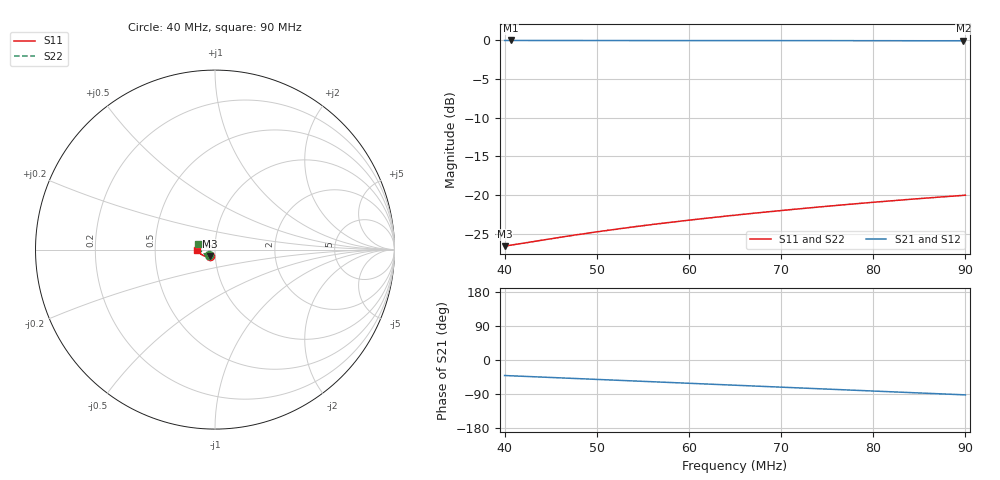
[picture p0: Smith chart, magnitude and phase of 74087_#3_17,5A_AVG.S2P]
!Agilent Technologies,E5061B,MY49102235,A.02.00
!Date: Mon Jul 03 11:20:50 2023
!Data & Calibration Information:
!Freq	S11:SOLT2(ON)	S21:SOLT2(ON)	S12:SOLT2(ON)	S22:SOLT2(ON)
# Hz S RI R 50
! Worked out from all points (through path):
!   1600 points, 40 MHz to 90 MHz, reference 50 ohm
!   highest |S21| = -0.01 dB at 40.69 MHz (marker M1); lowest = -0.1 dB at 89.78 MHz (marker M2)
!   group delay of S21, straight-line fit = 2.84 ns
!   lowest |S11| = -26.6 dB at 40 MHz (marker M3), VSWR 1.10, Z = 47 - j3.37 ohm
!   |S11| at or under -10 dB: start of sweep to end of sweep
!   |S22| runs from -26.7 to -20.0 dB; largest |S21 - S12| = 0.0014
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4e7  -0.0301 -0.0358  0.7545 -0.6549  0.7546 -0.654  -0.0346 -0.0305
4.068793e7  -0.031 -0.036  0.7466 -0.6641  0.7466 -0.6632  -0.0355 -0.0305
4.300188e7  -0.0341 -0.0365  0.7182 -0.6942  0.7184 -0.6936  -0.0392 -0.0304
4.444028e7  -0.0361 -0.0369  0.6999 -0.7122  0.7002 -0.7118  -0.0415 -0.0301
4.834897e7  -0.0416 -0.0375  0.6484 -0.759  0.6485 -0.7587  -0.0476 -0.0287
5.000625e7  -0.0441 -0.0376  0.6256 -0.7778  0.6256 -0.7774  -0.0502 -0.0279
5.241401e7  -0.0476 -0.0375  0.5913 -0.8038  0.5914 -0.8034  -0.0538 -0.0263
5.482176e7  -0.051 -0.0373  0.5561 -0.8282  0.5562 -0.828  -0.0576 -0.0246
5.666667e7  -0.0539 -0.0369  0.5285 -0.8458  0.5285 -0.8454  -0.0604 -0.0229
6.082552e7  -0.0602 -0.0353  0.4644 -0.8823  0.4644 -0.8818  -0.0661 -0.0189
6.501563e7  -0.0668 -0.0325  0.3971 -0.9146  0.3974 -0.9137  -0.0718 -0.0143
6.901814e7  -0.0729 -0.029  0.3308 -0.9405  0.3313 -0.9397  -0.0769 -0.00915
7.133208e7  -0.0764 -0.0265  0.2915 -0.9533  0.2921 -0.9525  -0.0799 -0.00575
7.33646e7  -0.0794 -0.0244  0.2564 -0.9632  0.2572 -0.9624  -0.0823 -0.00269
7.530331e7  -0.0822 -0.0219  0.2227 -0.9711  0.2234 -0.9707  -0.0843 0.00047
7.746091e7  -0.085 -0.0192  0.1852 -0.9786  0.1856 -0.9782  -0.0866 0.00415
7.936836e7  -0.0876 -0.0167  0.1515 -0.9839  0.1521 -0.9837  -0.0884 0.00777
8.16823e7  -0.0906 -0.0136  0.1108 -0.9889  0.1113 -0.9888  -0.0904 0.0122
8.358974e7  -0.0928 -0.0108  0.0771 -0.992  0.0775 -0.9915  -0.0919 0.0161
8.596623e7  -0.0955 -0.00729  0.0352 -0.9938  0.0355 -0.9935  -0.0932 0.0211
8.978111e7  -0.0997 -0.00106  -0.032 -0.9933  -0.0318 -0.9929  -0.095 0.0294
9e7  -0.0999 -0.000593  -0.0356 -0.9932  -0.0356 -0.9927  -0.0951 0.03
